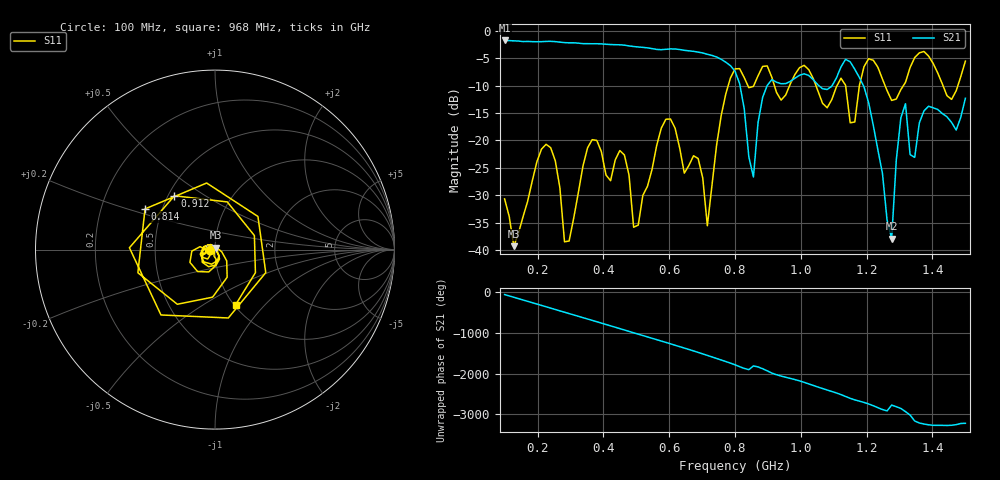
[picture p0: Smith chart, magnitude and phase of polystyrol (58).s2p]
! NanoVNA-App
! Date: 2025-09-26 09:42:20
! Start: 100MHz Stop: 1,5GHz Points: 101
! S-Parameter data: F S11 S21 S12 S22
# Hz S RI R 50
!  Frequency  S11_Real  S11_Imag  S21_Real  S21_Imag  S12_Real  S12_Imag  S22_Real  S22_Imag
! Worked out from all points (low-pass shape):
!   101 points, 100 MHz to 1.5 GHz, reference 50 ohm
!   highest |S21| = -1.79 dB at 100 MHz (marker M1); lowest = -37.9 dB at 1.276 GHz (marker M2)
!   |S21| within 3 dB of the highest: start of sweep to 743.4 MHz
!   lowest |S11| = -39.3 dB at 128 MHz (marker M3), VSWR 1.02, Z = 50.3 + j1.06 ohm
!   |S11| at or under -10 dB: start of sweep to 779.4 MHz; 1.046 GHz to 1.11 GHz (64.35 MHz wide, 5.97 % of centre); 1.256 GHz to 1.312 GHz (55.93 MHz wide, 4.36 % of centre)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
!   S12 and S22 are empty: the file has one direction only
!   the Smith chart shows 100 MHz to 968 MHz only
!   S11 on the Smith chart (normalised r, x): 100 MHz: 0.94, -0.01; 814 MHz: 0.40, +0.23; 912 MHz: 0.54, +0.38; 968 MHz: 1.02, -0.70
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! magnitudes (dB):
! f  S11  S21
! 100 MHz  -30.7  -1.8
! 128 MHz  -39.3  -1.9
! 212 MHz  -21.6  -2.0
! 282 MHz  -38.5  -2.2
! 338 MHz  -24.7  -2.4
! 464 MHz  -22.7  -2.6
! 506 MHz  -35.4  -3.0
! 576 MHz  -17.8  -3.5
! 688 MHz  -23.3  -3.9
! 716 MHz  -35.5  -4.3
! 800 MHz  -7.0  -7.4
! 814 MHz  -6.9  -9.6
! 856 MHz  -10.2  -26.7
! 912 MHz  -8.5  -8.9
! 968 MHz  -9.7  -9.2
! 1.038 GHz  -8.8  -9.0
! 1.164 GHz  -16.6  -7.0
! 1.192 GHz  -6.6  -10.2
! 1.276 GHz  -12.7  -37.9
! 1.318 GHz  -9.4  -13.3
! 1.346 GHz  -4.9  -23.1
! 1.5 GHz  -5.6  -12.3
